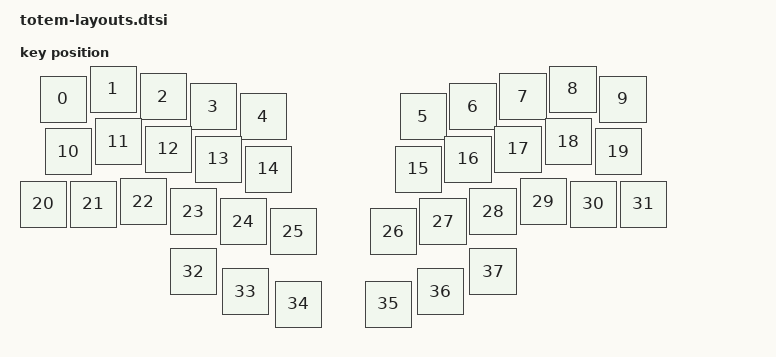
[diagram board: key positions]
#include <physical_layouts.dtsi>

/ {
    totem_layout: totem_layout {
        compatible = "zmk,physical-layout";
        display-name = "TOTEM";
        keys
            //                    w   h    x    y   rot    rx    ry
            = <&key_physical_attrs 100 100   40   20    0     0     0>
            , <&key_physical_attrs 100 100  140    0    0     0     0>
            , <&key_physical_attrs 100 100  240   15    0     0     0>
            , <&key_physical_attrs 100 100  340   35    0     0     0>
            , <&key_physical_attrs 100 100  440   55    0     0     0>
            , <&key_physical_attrs 100 100  760   55    0     0     0>
            , <&key_physical_attrs 100 100  860   35    0     0     0>
            , <&key_physical_attrs 100 100  960   15    0     0     0>
            , <&key_physical_attrs 100 100 1060    0    0     0     0>
            , <&key_physical_attrs 100 100 1160   20    0     0     0>

            , <&key_physical_attrs 100 100   50  125    0     0     0>
            , <&key_physical_attrs 100 100  150  105    0     0     0>
            , <&key_physical_attrs 100 100  250  120    0     0     0>
            , <&key_physical_attrs 100 100  350  140    0     0     0>
            , <&key_physical_attrs 100 100  450  160    0     0     0>
            , <&key_physical_attrs 100 100  750  160    0     0     0>
            , <&key_physical_attrs 100 100  850  140    0     0     0>
            , <&key_physical_attrs 100 100  950  120    0     0     0>
            , <&key_physical_attrs 100 100 1050  105    0     0     0>
            , <&key_physical_attrs 100 100 1150  125    0     0     0>

            , <&key_physical_attrs 100 100    0  230    0     0     0>
            , <&key_physical_attrs 100 100  100  230    0     0     0>
            , <&key_physical_attrs 100 100  200  225    0     0     0>
            , <&key_physical_attrs 100 100  300  245    0     0     0>
            , <&key_physical_attrs 100 100  400  265    0     0     0>
            , <&key_physical_attrs 100 100  500  285    0     0     0>
            , <&key_physical_attrs 100 100  700  285    0     0     0>
            , <&key_physical_attrs 100 100  800  265    0     0     0>
            , <&key_physical_attrs 100 100  900  245    0     0     0>
            , <&key_physical_attrs 100 100 1000  225    0     0     0>
            , <&key_physical_attrs 100 100 1100  230    0     0     0>
            , <&key_physical_attrs 100 100 1200  230    0     0     0>

            , <&key_physical_attrs 100 100  300  365    0     0     0>
            , <&key_physical_attrs 100 100  405  405    0     0     0>
            , <&key_physical_attrs 100 100  510  430    0     0     0>
            , <&key_physical_attrs 100 100  690  430    0     0     0>
            , <&key_physical_attrs 100 100  795  405    0     0     0>
            , <&key_physical_attrs 100 100  900  365    0     0     0>
            ;
    };
};
